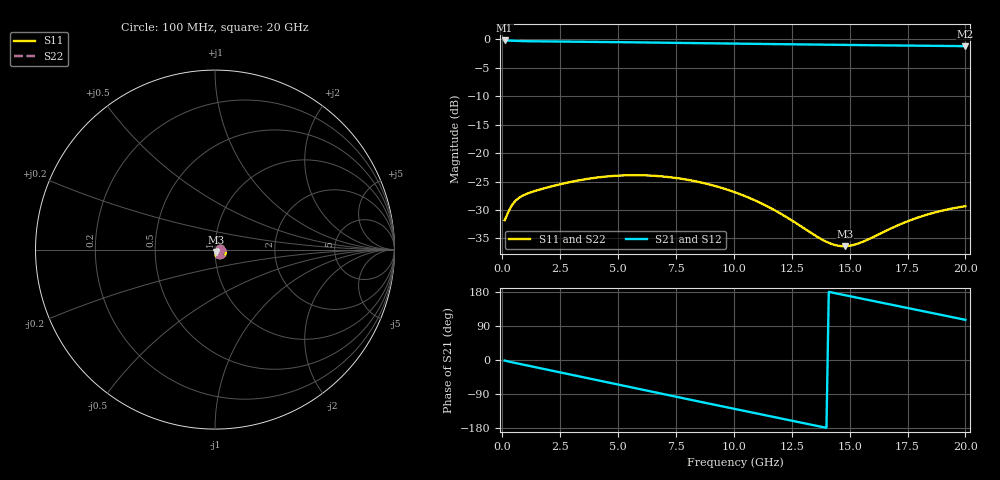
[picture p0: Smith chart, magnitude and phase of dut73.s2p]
! Touchstone file exported from HFSS 2026.1.0
!  File:  C:/ffzhzh/LocalFiles/Ansys_Project_Files/temp_train_TSV_RDL_73_1782970204_45568.aedt
!  Generated:  01:39:17 PM Jul  2, 2026
!  Design:  TSV_RDL
!  Project:  temp_train_TSV_RDL_73_1782970204_45568
! Variables:
!  h_bsmrdl = 4.56um
!  h_ox = 20um
!  h_rdl = 5um
!  h_sub = 76.68um
!  h_tmrdl = 2.94um
!  h_tsv = 76.68um
!  h_via = 3um
!  l_bsmrdl = 117.95um
!  l_sub = 4224.98um
!  l_tmrdl = 833.26um
!  m_sub = 200um
!  pitch = 26.26um
!  r_tsv = 3.24um
!  s_tmrdl = 10um
!  w_bsmrdl = 23.28um
!  w_sub = 500um
!  w_tmrdl = 22.75um
!  x_tsv_center1 = 844.635um
!  x_tsv_center2 = 985.865um
!  x_tsv_center3 = 1841.875um
!  x_tsv_center4 = 1983.105um
!  x_tsv_center5 = 2839.115um
!  x_tsv_center6 = 2980.345um
# GHz S MA R 50.000000
! Terminal data exported
! Port[1] = TM_RDL1_1_T1
! Port[2] = TM_RDL5_1_T1
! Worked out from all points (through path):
!   200 points, 100 MHz to 20 GHz, reference 50 ohm
!   highest |S21| = -0.22 dB at 100 MHz (marker M1); lowest = -1.2 dB at 20 GHz (marker M2)
!   group delay of S21, straight-line fit = 35.2 ps
!   lowest |S11| = -36.4 dB at 14.8 GHz (marker M3), VSWR 1.03, Z = 50.8 - j1.3 ohm
!   |S11| at or under -10 dB: start of sweep to end of sweep
!   |S22| runs from -36.3 to -23.9 dB; largest |S21 - S12| = 2.1e-14
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0.1  0.02569 9.1  0.9747 -1.5  0.9747 -1.5  0.02569 9.1
! Gamma 0 0 0 0
! Port Impedance 50 0 50 0
0.5  0.0367 17.1  0.9664 -7.1  0.9664 -7.1  0.0367 17.1
0.9  0.04245 13.3  0.9613 -12.2  0.9613 -12.2  0.04246 13.3
2.2  0.05141 4.5  0.9549 -28.9  0.9549 -28.9  0.05141 4.5
3.5  0.0585 -5.7  0.9493 -45.7  0.9493 -45.7  0.0585 -5.7
4.4  0.06195 -14.4  0.945 -57.3  0.945 -57.3  0.06195 -14.4
5.2  0.06361 -22.7  0.941 -67.6  0.941 -67.6  0.06362 -22.7
6  0.06384 -31.4  0.9369 -77.8  0.9369 -77.8  0.06384 -31.4
6.8  0.06262 -40.2  0.9326 -88.0  0.9326 -88.0  0.06262 -40.2
7.6  0.06003 -48.9  0.9282 -98.2  0.9282 -98.2  0.06001 -48.9
8.4  0.05619 -57.4  0.9238 -108.4  0.9238 -108.4  0.05617 -57.5
9.2  0.0513 -65.5  0.9194 -118.5  0.9194 -118.5  0.05127 -65.6
10.1  0.04483 -73.8  0.9145 -129.9  0.9145 -129.9  0.04478 -73.8
11.8  0.03115 -84.8  0.9053 -151.4  0.9053 -151.4  0.03108 -84.7
12.6  0.02487 -85.8  0.9011 -161.4  0.9011 -161.4  0.02481 -85.5
13.4  0.01948 -81.4  0.8971 -171.5  0.8971 -171.5  0.01945 -81.0
14.2  0.01596 -69.6  0.8932 178.5  0.8932 178.5  0.01602 -68.9
14.8  0.01521 -57.1  0.8903 171.0  0.8903 171.0  0.01536 -56.3
15.5  0.01641 -44.0  0.8871 162.2  0.8871 162.2  0.01667 -43.5
16.7  0.02136 -34.1  0.8818 147.2  0.8818 147.2  0.02176 -34.0
18.4  0.02901 -36.8  0.8749 126.0  0.8749 126.0  0.02952 -37.2
20  0.03412 -45.5  0.8688 106.0  0.8688 106.0  0.03473 -46.0
